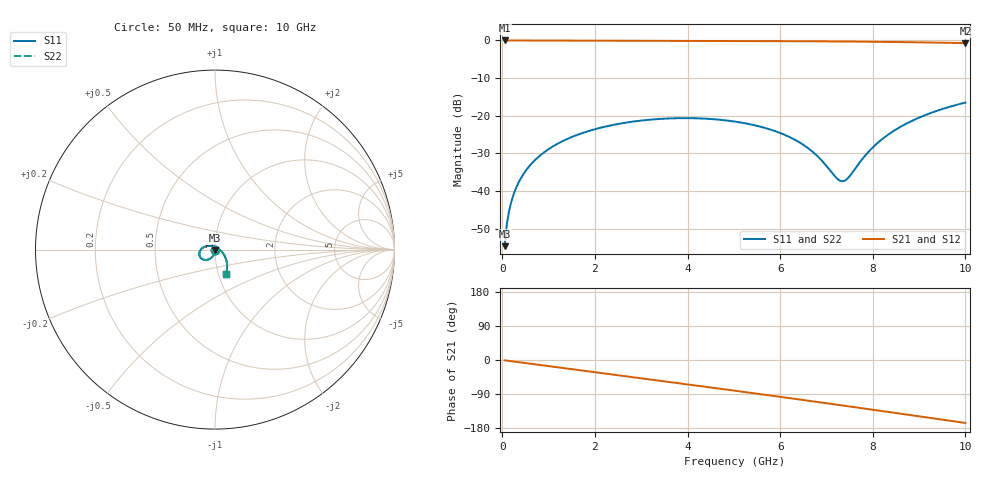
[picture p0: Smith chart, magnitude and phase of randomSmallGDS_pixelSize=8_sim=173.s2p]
! freq	dB(S11)	phase(S11)	dB(S12)	phase(S12)
!  dB(S21)	phase(S21)	dB(S22)	phase(S22)
!S-par simulation data
#  GHz  S  DB  R 50
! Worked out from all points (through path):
!   200 points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, 50 MHz to 10 GHz, reference 50 ohm
!   highest |S21| = 0.00 dB at 50 MHz (marker M1); lowest = -0.7 dB at 10 GHz (marker M2)
!   group delay of S21, straight-line fit = 46 ps
!   lowest |S11| = -54.6 dB at 50 MHz (marker M3), VSWR 1.00, Z = 50 - j0.185 ohm
!   |S11| at or under -10 dB: start of sweep to end of sweep
!   |S22| runs from -54.6 to -16.5 dB; largest |S21 - S12| = 0
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0.05  -54.65 -90.4  -0.00 -0.8  -0.00 -0.8  -54.64 -90.4
0.1  -48.63 -91.6  -0.00 -1.6  -0.00 -1.6  -48.63 -91.6
0.15  -45.11 -92.6  -0.01 -2.4  -0.01 -2.4  -45.11 -92.6
0.2  -42.62 -93.6  -0.01 -3.3  -0.01 -3.3  -42.62 -93.6
0.35  -37.79 -96.3  -0.01 -5.7  -0.01 -5.7  -37.79 -96.3
0.5  -34.72 -98.9  -0.01 -8.1  -0.01 -8.1  -34.72 -98.9
0.7  -31.85 -102.2  -0.02 -11.3  -0.02 -11.3  -31.85 -102.2
1  -28.87 -107.2  -0.02 -16.1  -0.02 -16.1  -28.87 -107.2
1.75  -24.51 -119.6  -0.04 -28.2  -0.04 -28.2  -24.51 -119.6
2.5  -22.19 -132.0  -0.07 -40.2  -0.07 -40.2  -22.19 -131.9
3.4  -20.85 -146.9  -0.10 -54.7  -0.10 -54.7  -20.85 -146.8
4.25  -20.70 -161.4  -0.12 -68.4  -0.12 -68.4  -20.70 -161.4
5.05  -21.60 -176.0  -0.15 -81.5  -0.15 -81.5  -21.60 -175.9
6  -24.58 164.0  -0.19 -97.2  -0.19 -97.2  -24.58 164.2
6.7  -29.56 141.4  -0.22 -109.0  -0.22 -109.0  -29.58 141.8
7.2  -36.34 94.6  -0.26 -117.5  -0.26 -117.5  -36.46 95.1
7.35  -37.41 62.4  -0.28 -120.0  -0.28 -120.0  -37.57 62.5
7.5  -36.05 30.3  -0.29 -122.6  -0.29 -122.6  -36.18 29.9
7.95  -29.04 -13.7  -0.34 -130.4  -0.34 -130.4  -29.07 -14.1
8.35  -24.87 -29.4  -0.39 -137.3  -0.39 -137.3  -24.88 -29.7
9.05  -20.24 -47.2  -0.51 -149.5  -0.51 -149.5  -20.25 -47.4
10  -16.51 -66.3  -0.70 -166.2  -0.70 -166.2  -16.51 -66.4
